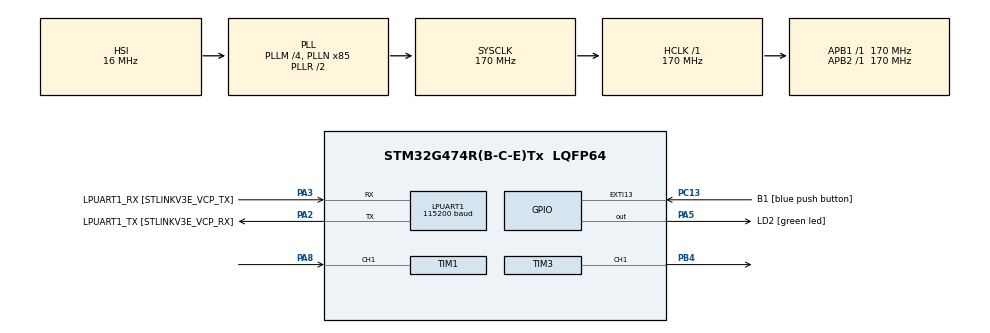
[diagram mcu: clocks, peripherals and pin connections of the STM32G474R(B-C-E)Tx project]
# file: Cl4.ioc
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LPUART1.BaudRate=115200
LPUART1.WordLength=UART_WORDLENGTH_8B
Mcu.Family=STM32G4
Mcu.Name=STM32G474R(B-C-E)Tx
Mcu.Package=LQFP64
NVIC.EXTI15_10_IRQn=true\:0\:0\:false\:false\:true\:true\:true\:true
NVIC.PriorityGroup=NVIC_PRIORITYGROUP_4
PA13.GPIO_Label=T_SWDIO
PA13.Mode=Serial_Wire
PA13.Signal=SYS_JTMS-SWDIO
PA14.GPIO_Label=T_SWCLK
PA14.Mode=Serial_Wire
PA14.Signal=SYS_JTCK-SWCLK
PA2.GPIO_Label=LPUART1_TX [STLINKV3E_VCP_RX]
PA2.Mode=Asynchronous
PA2.Signal=LPUART1_TX
PA3.GPIO_Label=LPUART1_RX [STLINKV3E_VCP_TX]
PA3.Mode=Asynchronous
PA3.Signal=LPUART1_RX
PA5.GPIO_Label=LD2 [green led]
PA5.Signal=GPIO_Output
PA8.Signal=S_TIM1_CH1
PB3.GPIO_Label=T_SWO
PB3.Signal=SYS_JTDO-SWO
PB4.Signal=S_TIM3_CH1
PC13.GPIO_Label=B1 [blue push button]
PC13.Signal=GPXTI13
PC14-OSC32_IN.Mode=LSE-External-Oscillator
PC14-OSC32_IN.Signal=RCC_OSC32_IN
PC15-OSC32_OUT.Mode=LSE-External-Oscillator
PC15-OSC32_OUT.Signal=RCC_OSC32_OUT
PF0-OSC_IN.Mode=HSE-External-Oscillator
PF0-OSC_IN.Signal=RCC_OSC_IN
PF1-OSC_OUT.Mode=HSE-External-Oscillator
PF1-OSC_OUT.Signal=RCC_OSC_OUT
ProjectManager.HeapSize=0x200
ProjectManager.StackSize=0x400
ProjectManager.TargetToolchain=STM32CubeIDE
RCC.ADC12Freq_Value=170000000
RCC.ADC345Freq_Value=170000000
RCC.AHBFreq_Value=170000000
RCC.APB1Freq_Value=170000000
RCC.APB1TimFreq_Value=170000000
RCC.APB2Freq_Value=170000000
RCC.APB2TimFreq_Value=170000000
RCC.CortexFreq_Value=170000000
RCC.EXTERNAL_CLOCK_VALUE=12288000
RCC.HCLKFreq_Value=170000000
RCC.HSE_VALUE=24000000
RCC.HSI48_VALUE=48000000
RCC.HSI_VALUE=16000000
RCC.PLLM=RCC_PLLM_DIV4
RCC.PLLN=85
RCC.RTCClockSelection=RCC_RTCCLKSOURCE_LSE
RCC.SYSCLKFreq_VALUE=170000000
RCC.SYSCLKSource=RCC_SYSCLKSOURCE_PLLCLK
RCC.USBFreq_Value=170000000
RCC.VCOOutputFreq_Value=340000000
SH.S_TIM1_CH1.0=TIM1_CH1,Input_Capture1_from_TI1
SH.S_TIM1_CH1.1=TIM1_CH1,TriggerSource_TI1FP1
SH.S_TIM3_CH1.0=TIM3_CH1,PWM Generation1 CH1
TIM1.Channel-Input_Capture1_from_TI1=TIM_CHANNEL_1
TIM1.Channel-Input_Capture2_from_TI1_63=TIM_CHANNEL_2
TIM1.ICPolarity_CH2=TIM_INPUTCHANNELPOLARITY_FALLING
TIM1.Prescaler=169
TIM3.Channel-PWM\ Generation1\ CH1=TIM_CHANNEL_1
TIM3.PeriodNoDither=19999
TIM3.Prescaler=169
TIM3.PulseNoDither_1=2000
VP_SYS_VS_DBSignals.Mode=DisableDeadBatterySignals
VP_TIM1_VS_ClockSourceINT.Mode=Internal
VP_TIM1_VS_ControllerModeReset.Mode=Reset Mode
VP_TIM1_VS_indirect_ch1.Mode=Input_Capture2_from_TI1_63
VP_TIM3_VS_ClockSourceINT.Mode=Internal
board=NUCLEO-G474RE

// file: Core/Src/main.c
/* USER CODE BEGIN Header */
/**
  ******************************************************************************
  * @file           : main.c
  * @brief          : Main program body
  ******************************************************************************
  * @attention
  *
  * Copyright (c) 2024 STMicroelectronics.
  * All rights reserved.
  *
  * This software is licensed under terms that can be found in the LICENSE file
  * in the root directory of this software component.
  * If no LICENSE file comes with this software, it is provided AS-IS.
  *
  ******************************************************************************
  */
/* USER CODE END Header */
#include "main.h"

UART_HandleTypeDef hlpuart1;

TIM_HandleTypeDef htim1;
TIM_HandleTypeDef htim3;

/* USER CODE BEGIN PV */
int32_t ServoTime,dt;
uint16_t Rise,Fall;
/* USER CODE END PV */

void SystemClock_Config(void);
static void MX_GPIO_Init(void);
static void MX_LPUART1_UART_Init(void);
static void MX_TIM3_Init(void);
static void MX_TIM1_Init(void);

int main(void)
{

  /* MCU Configuration--------------------------------------------------------*/

  /* Reset of all peripherals, Initializes the Flash interface and the Systick. */
  HAL_Init();

  /* Configure the system clock */
  SystemClock_Config();

  /* Initialize all configured peripherals */
  MX_GPIO_Init();
  MX_LPUART1_UART_Init();
  MX_TIM3_Init();
  MX_TIM1_Init();
  /* USER CODE BEGIN 2 */
  HAL_TIM_Base_Start(&htim3);
  HAL_TIM_PWM_Start(&htim3, TIM_CHANNEL_1);
  HAL_TIM_Base_Start(&htim1);
  HAL_TIM_IC_Start(&htim1, TIM_CHANNEL_1);
  HAL_TIM_IC_Start(&htim1, TIM_CHANNEL_2);
  /* USER CODE END 2 */

  /* Infinite loop */
  while (1)
  {

    /* USER CODE BEGIN 3 */
	  if (HAL_GPIO_ReadPin(B1_GPIO_Port, B1_Pin))
	  {
	  __HAL_TIM_SET_COMPARE(&htim3, TIM_CHANNEL_1, 500);
	  }
	  else
	  {
	  __HAL_TIM_SET_COMPARE(&htim3, TIM_CHANNEL_1, 2500);
	  }
	  Rise = __HAL_TIM_GET_COMPARE(&htim1,TIM_CHANNEL_1);
	  Fall = __HAL_TIM_GET_COMPARE(&htim1,TIM_CHANNEL_2);
	  dt = Fall - Rise;
	  if(Rise>Fall)
	  ServoTime = dt + 65535 ;
	  else
	  ServoTime = dt;
  }
  /* USER CODE END 3 */
}

void SystemClock_Config(void)
{
  RCC_OscInitTypeDef RCC_OscInitStruct = {0};
  RCC_ClkInitTypeDef RCC_ClkInitStruct = {0};

  /** Configure the main internal regulator output voltage
  */
  HAL_PWREx_ControlVoltageScaling(PWR_REGULATOR_VOLTAGE_SCALE1_BOOST);

  /** Initializes the RCC Oscillators according to the specified parameters
  * in the RCC_OscInitTypeDef structure.
  */
  RCC_OscInitStruct.OscillatorType = RCC_OSCILLATORTYPE_HSI;
  RCC_OscInitStruct.HSIState = RCC_HSI_ON;
  RCC_OscInitStruct.HSICalibrationValue = RCC_HSICALIBRATION_DEFAULT;
  RCC_OscInitStruct.PLL.PLLState = RCC_PLL_ON;
  RCC_OscInitStruct.PLL.PLLSource = RCC_PLLSOURCE_HSI;
  RCC_OscInitStruct.PLL.PLLM = RCC_PLLM_DIV4;
  RCC_OscInitStruct.PLL.PLLN = 85;
  RCC_OscInitStruct.PLL.PLLP = RCC_PLLP_DIV2;
  RCC_OscInitStruct.PLL.PLLQ = RCC_PLLQ_DIV2;
  RCC_OscInitStruct.PLL.PLLR = RCC_PLLR_DIV2;
  if (HAL_RCC_OscConfig(&RCC_OscInitStruct) != HAL_OK)
  {
    Error_Handler();
  }

  /** Initializes the CPU, AHB and APB buses clocks
  */
  RCC_ClkInitStruct.ClockType = RCC_CLOCKTYPE_HCLK|RCC_CLOCKTYPE_SYSCLK
                              |RCC_CLOCKTYPE_PCLK1|RCC_CLOCKTYPE_PCLK2;
  RCC_ClkInitStruct.SYSCLKSource = RCC_SYSCLKSOURCE_PLLCLK;
  RCC_ClkInitStruct.AHBCLKDivider = RCC_SYSCLK_DIV1;
  RCC_ClkInitStruct.APB1CLKDivider = RCC_HCLK_DIV1;
  RCC_ClkInitStruct.APB2CLKDivider = RCC_HCLK_DIV1;

  if (HAL_RCC_ClockConfig(&RCC_ClkInitStruct, FLASH_LATENCY_4) != HAL_OK)
  {
    Error_Handler();
  }
}

static void MX_LPUART1_UART_Init(void)
{

  hlpuart1.Instance = LPUART1;
  hlpuart1.Init.BaudRate = 115200;
  hlpuart1.Init.WordLength = UART_WORDLENGTH_8B;
  hlpuart1.Init.StopBits = UART_STOPBITS_1;
  hlpuart1.Init.Parity = UART_PARITY_NONE;
  hlpuart1.Init.Mode = UART_MODE_TX_RX;
  hlpuart1.Init.HwFlowCtl = UART_HWCONTROL_NONE;
  hlpuart1.Init.OneBitSampling = UART_ONE_BIT_SAMPLE_DISABLE;
  hlpuart1.Init.ClockPrescaler = UART_PRESCALER_DIV1;
  hlpuart1.AdvancedInit.AdvFeatureInit = UART_ADVFEATURE_NO_INIT;
  if (HAL_UART_Init(&hlpuart1) != HAL_OK)
  {
    Error_Handler();
  }
  if (HAL_UARTEx_SetTxFifoThreshold(&hlpuart1, UART_TXFIFO_THRESHOLD_1_8) != HAL_OK)
  {
    Error_Handler();
  }
  if (HAL_UARTEx_SetRxFifoThreshold(&hlpuart1, UART_RXFIFO_THRESHOLD_1_8) != HAL_OK)
  {
    Error_Handler();
  }
  if (HAL_UARTEx_DisableFifoMode(&hlpuart1) != HAL_OK)
  {
    Error_Handler();
  }

}

static void MX_TIM1_Init(void)
{

  TIM_ClockConfigTypeDef sClockSourceConfig = {0};
  TIM_SlaveConfigTypeDef sSlaveConfig = {0};
  TIM_MasterConfigTypeDef sMasterConfig = {0};
  TIM_IC_InitTypeDef sConfigIC = {0};

  htim1.Instance = TIM1;
  htim1.Init.Prescaler = 169;
  htim1.Init.CounterMode = TIM_COUNTERMODE_UP;
  htim1.Init.Period = 65535;
  htim1.Init.ClockDivision = TIM_CLOCKDIVISION_DIV1;
  htim1.Init.RepetitionCounter = 0;
  htim1.Init.AutoReloadPreload = TIM_AUTORELOAD_PRELOAD_DISABLE;
  if (HAL_TIM_Base_Init(&htim1) != HAL_OK)
  {
    Error_Handler();
  }
  sClockSourceConfig.ClockSource = TIM_CLOCKSOURCE_INTERNAL;
  if (HAL_TIM_ConfigClockSource(&htim1, &sClockSourceConfig) != HAL_OK)
  {
    Error_Handler();
  }
  if (HAL_TIM_IC_Init(&htim1) != HAL_OK)
  {
    Error_Handler();
  }
  sSlaveConfig.SlaveMode = TIM_SLAVEMODE_RESET;
  sSlaveConfig.InputTrigger = TIM_TS_TI1FP1;
  sSlaveConfig.TriggerPolarity = TIM_INPUTCHANNELPOLARITY_RISING;
  sSlaveConfig.TriggerFilter = 0;
  if (HAL_TIM_SlaveConfigSynchro(&htim1, &sSlaveConfig) != HAL_OK)
  {
    Error_Handler();
  }
  sMasterConfig.MasterOutputTrigger = TIM_TRGO_RESET;
  sMasterConfig.MasterOutputTrigger2 = TIM_TRGO2_RESET;
  sMasterConfig.MasterSlaveMode = TIM_MASTERSLAVEMODE_DISABLE;
  if (HAL_TIMEx_MasterConfigSynchronization(&htim1, &sMasterConfig) != HAL_OK)
  {
    Error_Handler();
  }
  sConfigIC.ICPolarity = TIM_INPUTCHANNELPOLARITY_RISING;
  sConfigIC.ICSelection = TIM_ICSELECTION_DIRECTTI;
  sConfigIC.ICPrescaler = TIM_ICPSC_DIV1;
  sConfigIC.ICFilter = 0;
  if (HAL_TIM_IC_ConfigChannel(&htim1, &sConfigIC, TIM_CHANNEL_1) != HAL_OK)
  {
    Error_Handler();
  }
  sConfigIC.ICPolarity = TIM_INPUTCHANNELPOLARITY_FALLING;
  sConfigIC.ICSelection = TIM_ICSELECTION_INDIRECTTI;
  if (HAL_TIM_IC_ConfigChannel(&htim1, &sConfigIC, TIM_CHANNEL_2) != HAL_OK)
  {
    Error_Handler();
  }

}

static void MX_TIM3_Init(void)
{

  TIM_ClockConfigTypeDef sClockSourceConfig = {0};
  TIM_MasterConfigTypeDef sMasterConfig = {0};
  TIM_OC_InitTypeDef sConfigOC = {0};

  htim3.Instance = TIM3;
  htim3.Init.Prescaler = 169;
  htim3.Init.CounterMode = TIM_COUNTERMODE_UP;
  htim3.Init.Period = 19999;
  htim3.Init.ClockDivision = TIM_CLOCKDIVISION_DIV1;
  htim3.Init.AutoReloadPreload = TIM_AUTORELOAD_PRELOAD_DISABLE;
  if (HAL_TIM_Base_Init(&htim3) != HAL_OK)
  {
    Error_Handler();
  }
  sClockSourceConfig.ClockSource = TIM_CLOCKSOURCE_INTERNAL;
  if (HAL_TIM_ConfigClockSource(&htim3, &sClockSourceConfig) != HAL_OK)
  {
    Error_Handler();
  }
  if (HAL_TIM_PWM_Init(&htim3) != HAL_OK)
  {
    Error_Handler();
  }
  sMasterConfig.MasterOutputTrigger = TIM_TRGO_RESET;
  sMasterConfig.MasterSlaveMode = TIM_MASTERSLAVEMODE_DISABLE;
  if (HAL_TIMEx_MasterConfigSynchronization(&htim3, &sMasterConfig) != HAL_OK)
  {
    Error_Handler();
  }
  sConfigOC.OCMode = TIM_OCMODE_PWM1;
  sConfigOC.Pulse = 2000;
  sConfigOC.OCPolarity = TIM_OCPOLARITY_HIGH;
  sConfigOC.OCFastMode = TIM_OCFAST_DISABLE;
  if (HAL_TIM_PWM_ConfigChannel(&htim3, &sConfigOC, TIM_CHANNEL_1) != HAL_OK)
  {
    Error_Handler();
  }
  HAL_TIM_MspPostInit(&htim3);

}

static void MX_GPIO_Init(void)
{
  GPIO_InitTypeDef GPIO_InitStruct = {0};

  /* GPIO Ports Clock Enable */
  __HAL_RCC_GPIOC_CLK_ENABLE();
  __HAL_RCC_GPIOF_CLK_ENABLE();
  __HAL_RCC_GPIOA_CLK_ENABLE();
  __HAL_RCC_GPIOB_CLK_ENABLE();

  /*Configure GPIO pin Output Level */
  HAL_GPIO_WritePin(LD2_GPIO_Port, LD2_Pin, GPIO_PIN_RESET);

  /*Configure GPIO pin : B1_Pin */
  GPIO_InitStruct.Pin = B1_Pin;
  GPIO_InitStruct.Mode = GPIO_MODE_IT_RISING;
  GPIO_InitStruct.Pull = GPIO_NOPULL;
  HAL_GPIO_Init(B1_GPIO_Port, &GPIO_InitStruct);

  /*Configure GPIO pin : LD2_Pin */
  GPIO_InitStruct.Pin = LD2_Pin;
  GPIO_InitStruct.Mode = GPIO_MODE_OUTPUT_PP;
  GPIO_InitStruct.Pull = GPIO_NOPULL;
  GPIO_InitStruct.Speed = GPIO_SPEED_FREQ_LOW;
  HAL_GPIO_Init(LD2_GPIO_Port, &GPIO_InitStruct);

  /* EXTI interrupt init*/
  HAL_NVIC_SetPriority(EXTI15_10_IRQn, 0, 0);
  HAL_NVIC_EnableIRQ(EXTI15_10_IRQn);

}

void Error_Handler(void)
{
  __disable_irq();
  while (1)
  {
  }
}
